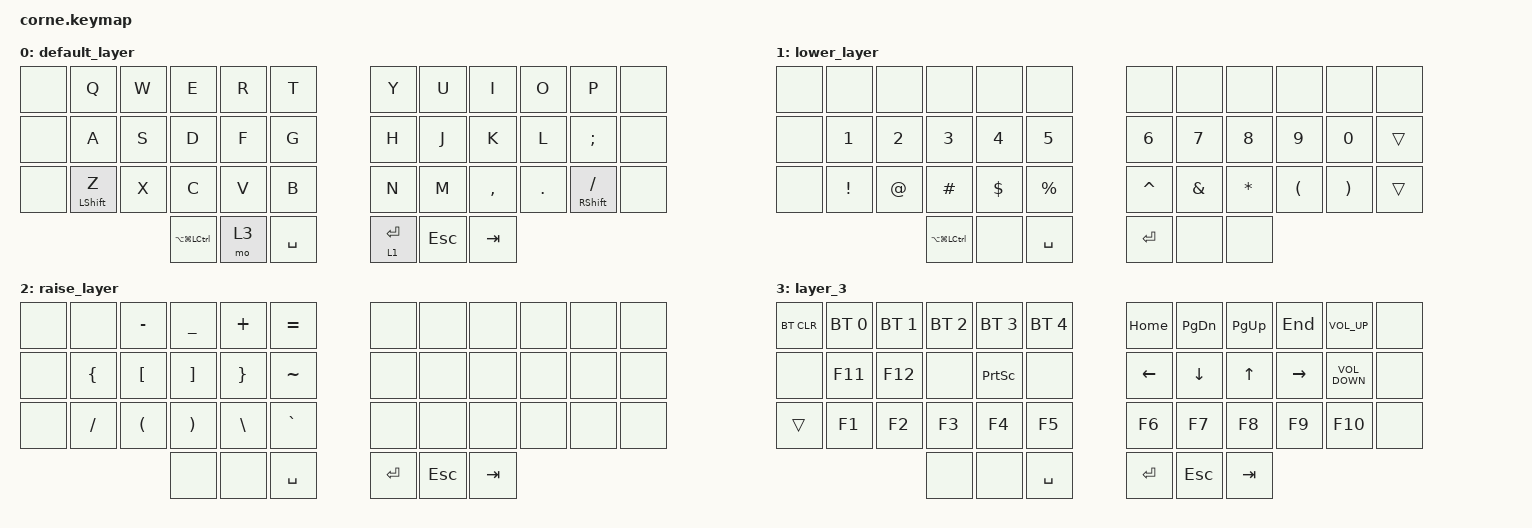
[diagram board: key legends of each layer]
/*
 * Copyright (c) 2020 The ZMK Contributors
 *
 * SPDX-License-Identifier: MIT
 */

#include <behaviors.dtsi>
#include <dt-bindings/zmk/bt.h>
#include <dt-bindings/zmk/keys.h>

/ {
    combos {
        compatible = "zmk,combos";

        right_ctrl {
            bindings = <&kp RIGHT_CONTROL>;
            key-positions = <19 20>;
        };

        right_gui {
            bindings = <&kp RIGHT_GUI>;
            key-positions = <20 21>;
        };

        right_alt {
            bindings = <&kp RIGHT_ALT>;
            key-positions = <21 22>;
        };

        backspace {
            bindings = <&kp BACKSPACE>;
            key-positions = <19 21>;
        };

        left_control {
            bindings = <&kp LEFT_CONTROL>;
            key-positions = <16 15>;
        };

        left_gui {
            bindings = <&kp LEFT_GUI>;
            key-positions = <15 14>;
        };

        left_alt {
            bindings = <&kp LEFT_ALT>;
            key-positions = <13 14>;
        };

        delete {
            bindings = <&kp DELETE>;
            key-positions = <14 16>;
        };

        sweChar1 {
            bindings = <&kp SQT>;
            key-positions = <26 27>;
        };

        sweChar2 {
            bindings = <&kp LEFT_BRACKET>;
            key-positions = <27 28>;
        };

        rightBracket {
            bindings = <&kp RIGHT_BRACKET>;
            key-positions = <31 32>;
        };

        minus {
            bindings = <&kp MINUS>;
            key-positions = <32 33>;
        };

        left_bracket {
            bindings = <&kp LEFT_PARENTHESIS>;
            key-positions = <26 28>;
        };

        right_parantheses {
            bindings = <&kp LS(RIGHT_PARENTHESIS)>;
            key-positions = <31 33>;
        };

        left_brace {
            bindings = <&kp LEFT_BRACE>;
            key-positions = <15 28>;
        };

        right_brace {
            bindings = <&kp RIGHT_BRACE>;
            key-positions = <20 31>;
        };

        equal {
            bindings = <&kp EQUAL>;
            key-positions = <15 26>;
        };

        backslash {
            bindings = <&kp BACKSLASH>;
            key-positions = <20 33>;
        };

        graveTilde {
            bindings = <&kp GRAVE>;
            key-positions = <33 34>;
        };
    };

    behaviors {
        leftZShift: leftZShift {
            compatible = "zmk,behavior-hold-tap";
            label = "LEFTZSHIFT";
            bindings = <&kp>, <&kp>;

            #binding-cells = <2>;
            hold-trigger-key-positions = <6 18 30 31 19 7 8 20 32 33 21 9 10 22 34 23 11 35>;
            tapping-term-ms = <149>;
            flavor = "balanced";
            hold-trigger-on-release;
            quick-tap-ms = <(-1)>;
        };

        CapsWord: CapsWord {
            compatible = "zmk,behavior-caps-word";
            label = "CAPSWORD";
            #binding-cells = <0>;
            continue-list = <UNDERSCORE BACKSPACE DELETE>;
        };

        LeftHomeModRow: LeftHomeModRow {
            compatible = "zmk,behavior-hold-tap";
            label = "LEFTHOMEMODROW";
            bindings = <&kp>, <&kp>;

            #binding-cells = <2>;
            tapping-term-ms = <280>;
            quick-tap-ms = <170>;
            global-quick-tap;
            flavor = "balanced";
            hold-trigger-on-release;
            hold-trigger-key-positions = <39 40 41 30 18 6 7 19 31 32 20 8 9 21 33 35 34 22 23 11 10>;
        };

        RightHomeRowMod: RightHomeRowMod {
            compatible = "zmk,behavior-hold-tap";
            label = "RIGHTHOMEROWMOD";
            bindings = <&kp>, <&kp>;

            #binding-cells = <2>;
            tapping-term-ms = <280>;
            quick-tap-ms = <170>;
            global-quick-tap;
            hold-trigger-on-release;
            hold-trigger-key-positions = <29 28 27 26 25 13 1 2 14 15 3 4 16 17 5 38 37 36>;
        };

        specialKeysRight: specialKeysRight {
            compatible = "zmk,behavior-hold-tap";
            label = "SPECIALKEYSRIGHT";
            bindings = <&mo>, <&kp>;

            #binding-cells = <2>;
            tapping-term-ms = <140>;
        };
    };

    keymap {
        compatible = "zmk,keymap";

        default_layer {
            // -----------------------------------------------------------------------------------------
            // |  TAB |  Q  |  W  |  E  |  R  |  T  |   |  Y  |  U   |  I  |  O  |  P  | BKSP |
            // | CTRL |  A  |  S  |  D  |  F  |  G  |   |  H  |  J   |  K  |  L  |  ;  |  '   |
            // | SHFT |  Z  |  X  |  C  |  V  |  B  |   |  N  |  M   |  ,  |  .  |  /  | ESC  |
            //                    | GUI | LWR | SPC |   | ENT | RSE  | ALT |

            bindings = <
&none  &kp Q                     &kp W  &kp E                     &kp R  &kp T        &kp Y        &kp U       &kp I      &kp O    &kp P                  &none
&none  &kp A                     &kp S  &kp D                     &kp F  &kp G        &kp H        &kp J       &kp K      &kp L    &kp SEMICOLON          &none
&none  &leftZShift LEFT_SHIFT Z  &kp X  &kp C                     &kp V  &kp B        &kp N        &kp M       &kp COMMA  &kp DOT  &mt RIGHT_SHIFT SLASH  &none
                                        &kp LA(LG(LEFT_CONTROL))  &mo 3  &kp SPACE    &lt 1 ENTER  &kp ESCAPE  &kp TAB
            >;
        };

        lower_layer {
            // -----------------------------------------------------------------------------------------
            // |  TAB |  1  |  2  |  3  |  4  |  5  |   |  6  |  7  |  8  |  9  |  0  | BKSP |
            // | BTCLR| BT1 | BT2 | BT3 | BT4 | BT5 |   | LFT | DWN |  UP | RGT |     |      |
            // | SHFT |     |     |     |     |     |   |     |     |     |     |     |      |
            //                    | GUI |     | SPC |   | ENT |     | ALT |

            bindings = <
&none  &none            &none         &none                     &none         &none           &none         &none          &none         &none                 &none                  &none
&none  &kp NUMBER_1     &kp NUMBER_2  &kp NUMBER_3              &kp NUMBER_4  &kp NUMBER_5    &kp NUMBER_6  &kp NUMBER_7   &kp NUMBER_8  &kp NUMBER_9          &kp NUMBER_0           &trans
&none  &kp EXCLAMATION  &kp AT        &kp HASH                  &kp DOLLAR    &kp PERCENT     &kp CARET     &kp AMPERSAND  &kp ASTERISK  &kp LEFT_PARENTHESIS  &kp RIGHT_PARENTHESIS  &trans
                                      &kp LA(LG(LEFT_CONTROL))  &none         &kp SPACE       &kp RET       &none          &none
            >;
        };

        raise_layer {
            // -----------------------------------------------------------------------------------------
            // |  TAB |  !  |  @  |  #  |  $  |  %  |   |  ^  |  &  |  *  |  (  |  )  | BKSP |
            // | CTRL |     |     |     |     |     |   |  -  |  =  |  [  |  ]  |  \  |  `   |
            // | SHFT |     |     |     |     |     |   |  _  |  +  |  {  |  }  | "|" |  ~   |
            //                    | GUI |     | SPC |   | ENT |     | ALT |

            bindings = <
&none  &none           &kp MINUS             &kp UNDERSCORE         &kp PLUS         &kp EQUAL    &none    &none       &none    &none  &none  &none
&none  &kp LEFT_BRACE  &kp LEFT_BRACKET      &kp RIGHT_BRACKET      &kp RIGHT_BRACE  &kp TILDE    &none    &none       &none    &none  &none  &none
&none  &kp SLASH       &kp LEFT_PARENTHESIS  &kp RIGHT_PARENTHESIS  &kp BACKSLASH    &kp GRAVE    &none    &none       &none    &none  &none  &none
                                             &none                  &none            &kp SPACE    &kp RET  &kp ESCAPE  &kp TAB
            >;
        };

        layer_3 {
            bindings = <
&bt BT_CLR  &bt BT_SEL 0  &bt BT_SEL 1  &bt BT_SEL 2  &bt BT_SEL 3     &bt BT_SEL 4    &kp HOME  &kp PAGE_DOWN  &kp PAGE_UP  &kp END    &kp C_VOL_UP       &none
&none       &kp F11       &kp F12       &none         &kp PRINTSCREEN  &none           &kp LEFT  &kp DOWN       &kp UP       &kp RIGHT  &kp C_VOLUME_DOWN  &none
&trans      &kp F1        &kp F2        &kp F3        &kp F4           &kp F5          &kp F6    &kp F7         &kp F8       &kp F9     &kp F10            &none
                                        &none         &none            &kp SPACE       &kp RET   &kp ESCAPE     &kp TAB
            >;
        };
    };
};
